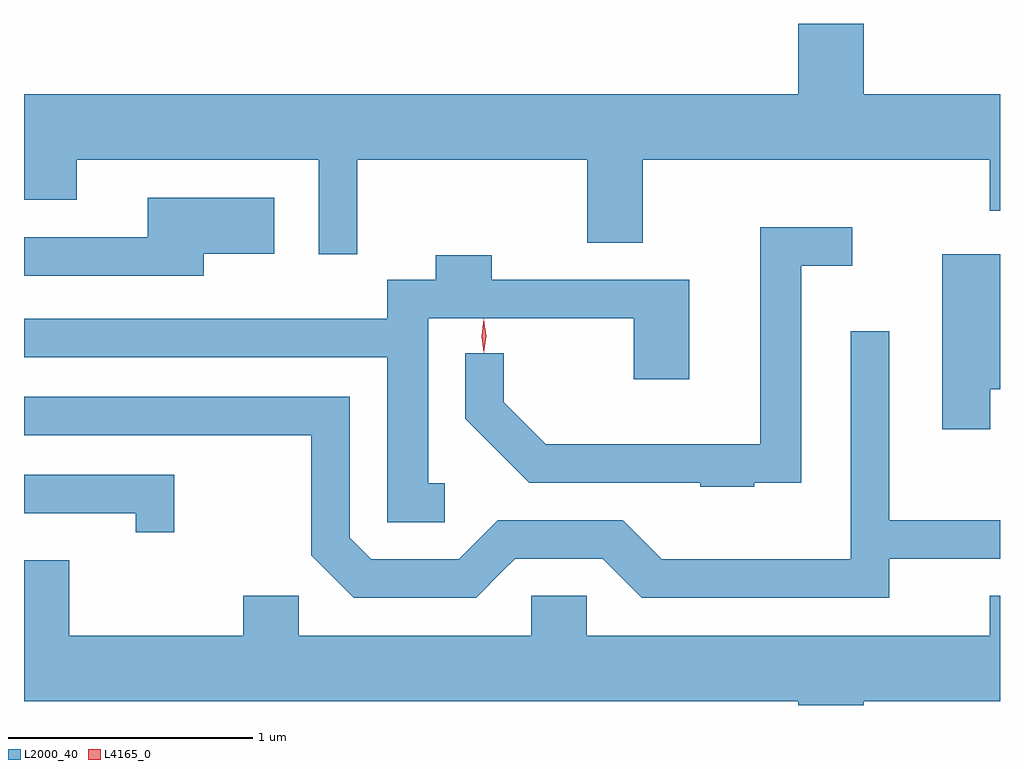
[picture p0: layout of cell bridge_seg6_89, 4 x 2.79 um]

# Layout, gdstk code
import gdstk
lib = gdstk.Library(unit=1e-6, precision=1e-09)
def P(c, l, *ps):  # polygons
    for p in ps: c.add(gdstk.Polygon(p, *l))
L2000_40 = (2000, 40)
L4165_0 = (4165, 0)

bridge_seg6_89 = lib.new_cell('bridge_seg6_89')
P(bridge_seg6_89, L2000_40, [(1052.429,1667.696),(1053.371,1667.696),(1053.371,1667.356),(1053.599,1667.356),(1053.599,1667.696),(1055.021,1667.696),(1055.021,1667.486),(1055.063,1667.486),(1055.063,1667.964),(1054.504,1667.964),(1054.504,1668.252),(1054.236,1668.252),(1054.236,1667.964),(1051.063,1667.964),(1051.063,1667.531),(1051.279,1667.531),(1051.279,1667.696),(1052.271,1667.696),(1052.271,1667.308),(1052.429,1667.308)],
  [(1051.799,1667.311),(1052.089,1667.311),(1052.089,1667.539),(1051.571,1667.539),(1051.571,1667.379),(1051.063,1667.379),(1051.063,1667.221),(1051.799,1667.221)],
  [(1054.055,1666.371),(1054.249,1666.371),(1054.249,1667.261),(1054.458,1667.261),(1054.458,1667.419),(1054.081,1667.419),(1054.081,1666.529),(1053.202,1666.529),(1053.029,1666.702),(1053.029,1666.903),(1052.871,1666.903),(1052.871,1666.634),(1053.134,1666.371),(1053.835,1666.371),(1053.835,1666.356),(1054.055,1666.356)],
  [(1055.024,1666.756),(1055.063,1666.756),(1055.063,1667.309),(1054.826,1667.309),(1054.826,1666.591),(1055.024,1666.591)],
  [(1052.788,1666.369),(1052.719,1666.369),(1052.719,1667.046),(1053.561,1667.046),(1053.561,1666.796),(1053.789,1666.796),(1053.789,1667.204),(1052.979,1667.204),(1052.979,1667.304),(1052.751,1667.304),(1052.751,1667.204),(1052.551,1667.204),(1052.551,1667.044),(1051.063,1667.044),(1051.063,1666.886),(1052.551,1666.886),(1052.551,1666.211),(1052.788,1666.211)],
  [(1053.028,1666.013),(1053.077,1666.061),(1053.434,1666.061),(1053.594,1665.901),(1054.609,1665.901),(1054.609,1666.061),(1055.063,1666.061),(1055.063,1666.219),(1054.609,1666.219),(1054.609,1666.993),(1054.451,1666.993),(1054.451,1666.059),(1053.677,1666.059),(1053.517,1666.219),(1053.004,1666.219),(1052.844,1666.059),(1052.487,1666.059),(1052.399,1666.147),(1052.399,1666.724),(1051.063,1666.724),(1051.063,1666.566),(1052.241,1666.566),(1052.241,1666.074),(1052.414,1665.901),(1052.917,1665.901)],
  [(1051.679,1666.404),(1051.063,1666.404),(1051.063,1666.246),(1051.521,1666.246),(1051.521,1666.168),(1051.679,1666.168)],
  [(1053.141,1665.909),(1053.141,1665.744),(1052.189,1665.744),(1052.189,1665.909),(1051.961,1665.909),(1051.961,1665.744),(1051.249,1665.744),(1051.249,1666.054),(1051.063,1666.054),(1051.063,1665.476),(1054.236,1665.476),(1054.236,1665.461),(1054.504,1665.461),(1054.504,1665.476),(1055.063,1665.476),(1055.063,1665.909),(1055.021,1665.909),(1055.021,1665.744),(1053.369,1665.744),(1053.369,1665.909)])
P(bridge_seg6_89, L4165_0, [(1052.948,1666.903),(1052.947,1666.904),(1052.938,1666.973),(1052.947,1667.042),(1052.948,1667.043),(1052.948,1667.042),(1052.958,1666.973),(1052.948,1666.904)])

lib.write_gds('bridge_seg6_89.gds')
